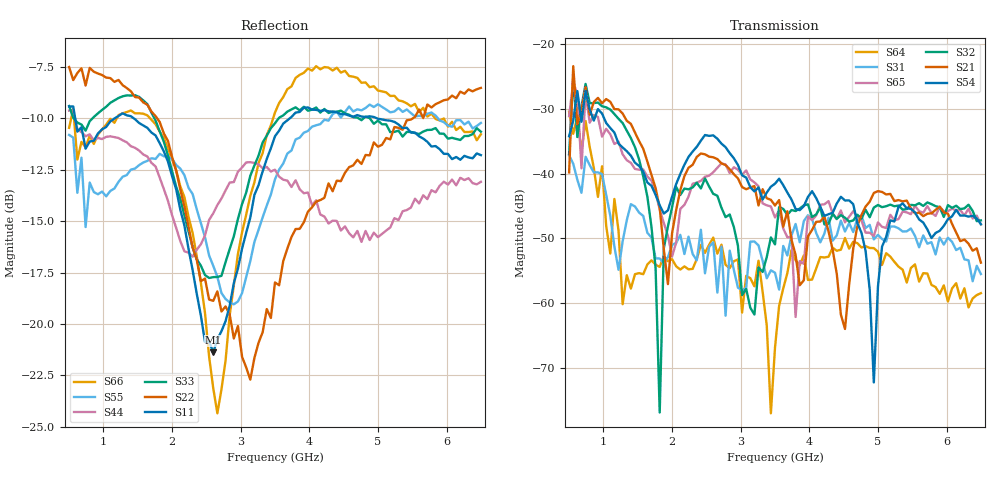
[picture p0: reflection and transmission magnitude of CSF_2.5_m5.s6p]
!Keysight Technologies,M9804A,MY58100912,A.14.10.03
!Date: Thursday, April 27, 2023 10:28:33
!Correction: S11(C  6-Port  )
!S12(C  6-Port  )
!S13(C  6-Port  )
!S14(C  6-Port  )
!S15(C  6-Port  )
!S16(C  6-Port  )
!S21(C  6-Port  )
!S22(C  6-Port  )
!S23(C  6-Port  )
!S24(C  6-Port  )
!S25(C  6-Port  )
!S26(C  6-Port  )
!S31(C  6-Port  )
!S32(C  6-Port  )
!S33(C  6-Port  )
!S34(C  6-Port  )
!S35(C  6-Port  )
!S36(C  6-Port  )
!S41(C  6-Port  )
!S42(C  6-Port  )
!S43(C  6-Port  )
!S44(C  6-Port  )
!S45(C  6-Port  )
!S46(C  6-Port  )
!S51(C  6-Port  )
!S52(C  6-Port  )
!S53(C  6-Port  )
!S54(C  6-Port  )
!S55(C  6-Port  )
!S56(C  6-Port  )
!S61(C  6-Port  )
!S62(C  6-Port  )
!S63(C  6-Port  )
!S64(C  6-Port  )
!S65(C  6-Port  )
!S66(C  6-Port  )
!S6P File: Measurement: :
# Hz S  RI  R 50
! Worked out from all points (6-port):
!   101 points, 500 MHz to 6.5 GHz, reference 50 ohm
!   strongest paths, dB at 500 MHz, 2 GHz, 3.5 GHz, 5 GHz, 6.5 GHz:
!     S54: -34.2, -43.6, -41.5, -57.4, -47.8
!     S21: -39.8, -49.2, -44.9, -42.7, -53.7
!     S32: -37.0, -45.2, -50.9, -44.8, -47.2
!     S65: -31.1, -52.8, -46.7, -47.5, -47.9
!     S31: -37.2, -51.0, -55.3, -49.4, -55.5
!     S64: -30.4, -53.2, -66.9, -52.0, -58.4
!   lowest |S11| = -21.4 dB at 2.6 GHz (marker M1), VSWR 1.19, Z = 42.4 + j2.18 ohm
!   |S11| at or under -10 dB: 588.3 MHz to 1.164 GHz (575.5 MHz wide, 65.7 % of centre); 1.443 GHz to 3.715 GHz (2.272 GHz wide, 88.1 % of centre); 4.986 GHz to end of sweep
